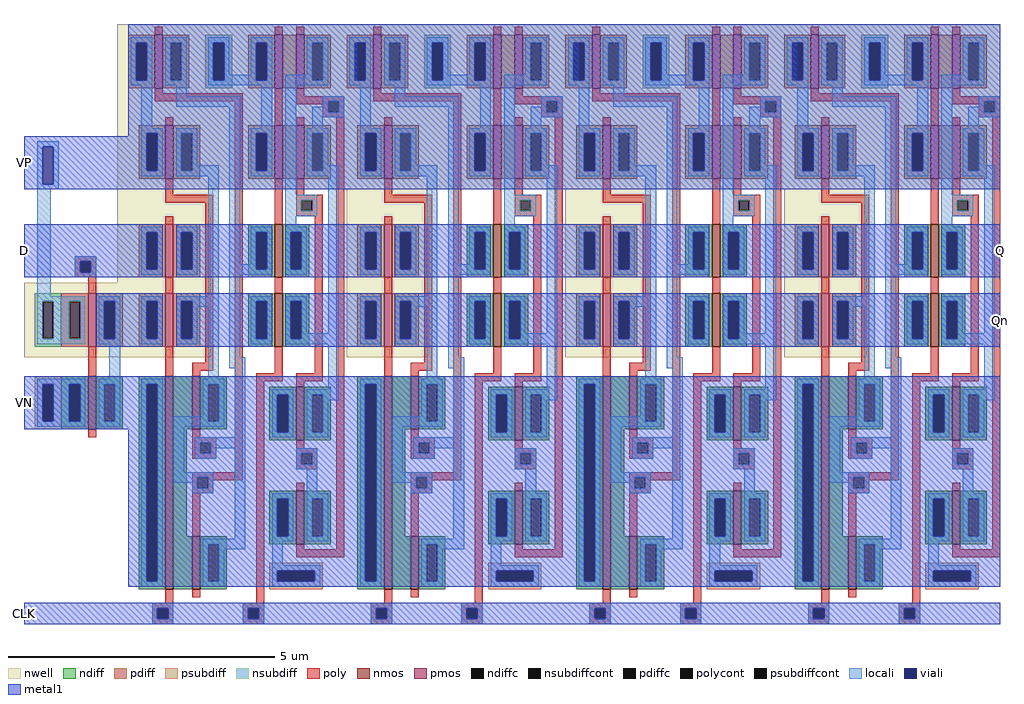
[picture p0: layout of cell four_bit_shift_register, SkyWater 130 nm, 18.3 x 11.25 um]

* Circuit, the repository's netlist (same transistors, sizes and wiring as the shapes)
* NGSPICE file created from four_bit_shift_register.ext - technology: sky130A

.subckt inverter VN VP A Y
X0 Y A VP VP sky130_fd_pr__pfet_01v8 ad=0.5 pd=3 as=0.5 ps=3 w=1 l=0.15
X1 Y A VN VN sky130_fd_pr__nfet_01v8 ad=0.5 pd=3 as=0.5 ps=3 w=1 l=0.15
.ends

.subckt csrl_flipflop CLK VN Dn D VP Q Qn
X0 Qn CLK a_n150_1500# VN sky130_fd_pr__nfet_01v8 ad=0.5 pd=3 as=0.5 ps=3 w=1 l=0.15
X1 a_n150_1500# CLK Dn VP sky130_fd_pr__pfet_01v8 ad=0.5 pd=3 as=0.5 ps=3 w=1 l=0.15
X2 Q Qn a_330_1550# VP sky130_fd_pr__pfet_01v8 ad=0.5 pd=3 as=0.125 ps=1.25 w=1 l=0.15
X3 Q CLK a_n120_1550# VN sky130_fd_pr__nfet_01v8 ad=0.5 pd=3 as=0.5 ps=3 w=1 l=0.15
X4 Qn Q a_330_1210# VP sky130_fd_pr__pfet_01v8 ad=0.5 pd=3 as=0.125 ps=1.25 w=1 l=0.15
X5 a_n120_1550# CLK D VP sky130_fd_pr__pfet_01v8 ad=0.5 pd=3 as=0.5 ps=3 w=1 l=0.15
X6 Qn Q VN VN sky130_fd_pr__nfet_01v8 ad=0.5 pd=3 as=0.5 ps=3 w=1 l=0.15
X7 a_n120_1550# a_n150_1500# VP VP sky130_fd_pr__pfet_01v8 ad=0.5 pd=3 as=0.5 ps=3 w=1 l=0.15
X8 a_n120_1550# a_n150_1500# a_n80_n330# VN sky130_fd_pr__nfet_01v8 ad=0.5 pd=3 as=0.4 ps=2.96 w=1 l=0.15
X9 a_330_1550# CLK VP VP sky130_fd_pr__pfet_01v8 ad=0.125 pd=1.25 as=0.5 ps=3 w=1 l=0.15
X10 a_n80_n330# CLK VN VN sky130_fd_pr__nfet_01v8 ad=0.4 pd=2.96 as=2 ps=9 w=4 l=0.15
X11 a_330_1210# CLK VP VP sky130_fd_pr__pfet_01v8 ad=0.125 pd=1.25 as=0.5 ps=3 w=1 l=0.15
X12 a_n150_1500# a_n120_1550# VP VP sky130_fd_pr__pfet_01v8 ad=0.5 pd=3 as=0.5 ps=3 w=1 l=0.15
X13 Q Qn VN VN sky130_fd_pr__nfet_01v8 ad=0.5 pd=3 as=0.5 ps=3 w=1 l=0.15
X14 a_n150_1500# a_n120_1550# a_n80_n330# VN sky130_fd_pr__nfet_01v8 ad=0.5 pd=3 as=0.4 ps=2.96 w=1 l=0.15
.ends


* Top level circuit four_bit_shift_register

Xinverter_0 VN inverter_0/VP inverter_0/A inverter_0/Y inverter
Xcsrl_flipflop_0 CLK VN inverter_0/Y inverter_0/A inverter_0/VP csrl_flipflop_1/D
+ csrl_flipflop_1/Dn csrl_flipflop
Xcsrl_flipflop_1 CLK VN csrl_flipflop_1/Dn csrl_flipflop_1/D inverter_0/VP csrl_flipflop_2/D
+ csrl_flipflop_2/Dn csrl_flipflop
Xcsrl_flipflop_2 CLK VN csrl_flipflop_2/Dn csrl_flipflop_2/D inverter_0/VP csrl_flipflop_3/D
+ csrl_flipflop_3/Dn csrl_flipflop
Xcsrl_flipflop_3 CLK VN csrl_flipflop_3/Dn csrl_flipflop_3/D inverter_0/VP csrl_flipflop_3/Q
+ csrl_flipflop_3/Qn csrl_flipflop
.end

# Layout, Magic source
magic
tech sky130A
<< nwell >>
rect 580 465 625 775
rect 990 465 1040 775
rect 1395 465 1450 775
rect 175 290 195 465
<< metal1 >>
rect 580 465 625 775
rect 990 465 1040 775
rect 1395 465 1450 775
rect 590 300 625 400
rect 1000 300 1025 400
rect 1385 300 1450 400
rect 585 170 620 270
rect 1000 170 1025 270
rect 1385 170 1450 270
rect 0 15 25 115
rect 575 -280 630 115
rect 990 -280 1030 115
rect 1400 -280 1440 115
rect 0 -350 195 -310
rect 580 -350 615 -310
rect 995 -350 1030 -310
rect 1405 -350 1445 -310
use csrl_flipflop  csrl_flipflop_0
transform 1 0 320 0 1 -120
box -145 -230 280 895
use csrl_flipflop  csrl_flipflop_1
transform 1 0 730 0 1 -120
box -145 -230 280 895
use csrl_flipflop  csrl_flipflop_2
transform 1 0 1140 0 1 -120
box -145 -230 280 895
use csrl_flipflop  csrl_flipflop_3
transform 1 0 1550 0 1 -120
box -145 -230 280 895
use inverter  inverter_0
transform 1 0 120 0 1 15
box -120 -15 85 550
<< labels >>
rlabel metal1 0 -330 0 -330 7 CLK
rlabel metal1 0 65 0 65 7 VN
rlabel space 0 350 0 350 7 D
rlabel space 0 515 0 515 7 VP
rlabel space 1830 350 1830 350 3 Q
rlabel space 1830 220 1830 220 3 Qn
<< end >>

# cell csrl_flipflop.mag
magic
tech sky130A
<< nwell >>
rect -145 585 280 895
rect -125 535 35 585
rect -125 270 30 535
<< nmos >>
rect -55 -165 -40 235
rect -5 135 10 235
rect 150 420 165 520
rect 150 290 165 390
rect -5 -165 10 -65
rect 190 115 205 215
rect 190 -80 205 20
<< pmos >>
rect -75 775 -60 875
rect 150 775 165 875
rect 190 775 205 875
rect -55 605 -40 705
rect -55 420 -40 520
rect -55 290 -40 390
rect 150 605 165 705
rect 190 605 205 705
<< ndiff >>
rect -105 220 -55 235
rect -105 -150 -90 220
rect -70 -150 -55 220
rect -105 -165 -55 -150
rect -40 135 -5 235
rect 10 220 60 235
rect 10 150 25 220
rect 45 150 60 220
rect 10 135 60 150
rect -40 -65 -15 135
rect 100 505 150 520
rect 100 435 115 505
rect 135 435 150 505
rect 100 420 150 435
rect 165 505 215 520
rect 165 435 180 505
rect 200 435 215 505
rect 165 420 215 435
rect 100 375 150 390
rect 100 305 115 375
rect 135 305 150 375
rect 100 290 150 305
rect 165 375 215 390
rect 165 305 180 375
rect 200 305 215 375
rect 165 290 215 305
rect -40 -165 -5 -65
rect 10 -80 60 -65
rect 10 -150 25 -80
rect 45 -150 60 -80
rect 10 -165 60 -150
rect 140 200 190 215
rect 140 130 155 200
rect 175 130 190 200
rect 140 115 190 130
rect 205 200 255 215
rect 205 130 220 200
rect 240 130 255 200
rect 205 115 255 130
rect 140 5 190 20
rect 140 -65 155 5
rect 175 -65 190 5
rect 140 -80 190 -65
rect 205 5 255 20
rect 205 -65 220 5
rect 240 -65 255 5
rect 205 -80 255 -65
<< pdiff >>
rect -125 860 -75 875
rect -125 790 -110 860
rect -90 790 -75 860
rect -125 775 -75 790
rect -60 860 -10 875
rect -60 790 -45 860
rect -25 790 -10 860
rect -60 775 -10 790
rect 100 860 150 875
rect 100 790 115 860
rect 135 790 150 860
rect 100 775 150 790
rect 165 775 190 875
rect 205 860 255 875
rect 205 790 220 860
rect 240 790 255 860
rect 205 775 255 790
rect -105 690 -55 705
rect -105 620 -90 690
rect -70 620 -55 690
rect -105 605 -55 620
rect -40 690 10 705
rect -40 620 -25 690
rect -5 620 10 690
rect -40 605 10 620
rect -105 505 -55 520
rect -105 435 -90 505
rect -70 435 -55 505
rect -105 420 -55 435
rect -40 505 10 520
rect -40 435 -25 505
rect -5 435 10 505
rect -40 420 10 435
rect -105 375 -55 390
rect -105 305 -90 375
rect -70 305 -55 375
rect -105 290 -55 305
rect -40 375 10 390
rect -40 305 -25 375
rect -5 305 10 375
rect -40 290 10 305
rect 100 690 150 705
rect 100 620 115 690
rect 135 620 150 690
rect 100 605 150 620
rect 165 605 190 705
rect 205 690 255 705
rect 205 620 220 690
rect 240 620 255 690
rect 205 605 255 620
<< ndiffc >>
rect -90 -150 -70 220
rect 25 150 45 220
rect 115 435 135 505
rect 180 435 200 505
rect 115 305 135 375
rect 180 305 200 375
rect 25 -150 45 -80
rect 155 130 175 200
rect 220 130 240 200
rect 155 -65 175 5
rect 220 -65 240 5
<< pdiffc >>
rect -110 790 -90 860
rect -45 790 -25 860
rect 115 790 135 860
rect 220 790 240 860
rect -90 620 -70 690
rect -25 620 -5 690
rect -90 435 -70 505
rect -25 435 -5 505
rect -90 305 -70 375
rect -25 305 -5 375
rect 115 620 135 690
rect 220 620 240 690
<< psubdiff >>
rect 140 -130 240 -115
rect 140 -150 155 -130
rect 225 -150 240 -130
rect 140 -165 240 -150
<< nsubdiff >>
rect 20 860 70 875
rect 20 790 35 860
rect 55 790 70 860
rect 20 775 70 790
<< psubdiffcont >>
rect 155 -150 225 -130
<< nsubdiffcont >>
rect 35 790 55 860
<< poly >>
rect -75 875 -60 890
rect 150 875 165 890
rect 190 875 205 890
rect -75 765 -60 775
rect -75 750 90 765
rect -55 705 -40 720
rect -55 575 -40 605
rect -55 560 35 575
rect -55 520 -40 535
rect -55 390 -40 420
rect -55 235 -40 290
rect 20 260 35 560
rect -5 245 35 260
rect -5 235 10 245
rect -5 120 10 135
rect -5 110 40 120
rect -5 90 10 110
rect 30 90 40 110
rect -5 80 40 90
rect 75 55 90 750
rect 150 705 165 775
rect 190 760 205 775
rect 190 750 280 760
rect 190 745 250 750
rect 240 730 250 745
rect 270 730 280 750
rect 240 720 280 730
rect 190 705 205 720
rect 150 520 165 605
rect 190 575 205 605
rect 190 565 240 575
rect 190 545 200 565
rect 220 545 240 565
rect 190 535 240 545
rect 150 390 165 420
rect 150 240 165 290
rect 225 240 240 535
rect -5 45 90 55
rect -5 25 5 45
rect 25 40 90 45
rect 115 225 165 240
rect 190 225 240 240
rect 25 25 35 40
rect -5 15 35 25
rect -5 -65 10 15
rect -55 -190 -40 -165
rect -5 -180 10 -165
rect 115 -190 130 225
rect 190 215 205 225
rect 190 100 205 115
rect 190 90 230 100
rect 190 70 200 90
rect 220 70 230 90
rect 190 60 230 70
rect 190 20 205 35
rect 190 -90 205 -80
rect 265 -90 280 720
rect 190 -105 280 -90
rect -80 -200 -40 -190
rect -80 -220 -70 -200
rect -50 -220 -40 -200
rect -80 -230 -40 -220
rect 90 -200 130 -190
rect 90 -220 100 -200
rect 120 -220 130 -200
rect 90 -230 130 -220
<< polycont >>
rect 10 90 30 110
rect 250 730 270 750
rect 200 545 220 565
rect 5 25 25 45
rect 200 70 220 90
rect -70 -220 -50 -200
rect 100 -220 120 -200
<< locali >>
rect -120 860 -80 870
rect -120 790 -110 860
rect -90 790 -80 860
rect -120 780 -80 790
rect -55 860 -15 870
rect -55 790 -45 860
rect -25 790 -15 860
rect -55 780 -15 790
rect 25 860 65 870
rect 25 790 35 860
rect 55 800 65 860
rect 105 860 145 870
rect 105 800 115 860
rect 55 790 115 800
rect 135 790 145 860
rect 210 860 250 870
rect 210 800 220 860
rect 25 780 145 790
rect -100 700 -80 780
rect -35 760 -15 780
rect -35 740 85 760
rect -100 690 -60 700
rect -100 620 -90 690
rect -70 620 -60 690
rect -100 610 -60 620
rect -35 690 5 700
rect -35 620 -25 690
rect -5 630 5 690
rect -5 620 45 630
rect -35 610 45 620
rect -100 505 -60 515
rect -100 435 -90 505
rect -70 435 -60 505
rect -100 425 -60 435
rect -35 505 5 515
rect -35 435 -25 505
rect -5 435 5 505
rect -35 425 5 435
rect 25 385 45 610
rect -100 375 -60 385
rect -100 305 -90 375
rect -70 305 -60 375
rect -100 295 -60 305
rect -35 375 45 385
rect -35 305 -25 375
rect -5 365 45 375
rect -5 305 5 365
rect -35 295 5 305
rect 25 230 45 365
rect 65 445 85 740
rect 125 700 145 780
rect 105 690 145 700
rect 105 620 115 690
rect 135 620 145 690
rect 105 610 145 620
rect 170 790 220 800
rect 240 790 250 860
rect 170 780 250 790
rect 170 575 190 780
rect 240 750 280 760
rect 240 740 250 750
rect 220 730 250 740
rect 270 730 280 750
rect 220 720 280 730
rect 220 700 240 720
rect 210 690 250 700
rect 210 620 220 690
rect 240 630 250 690
rect 240 620 270 630
rect 210 610 270 620
rect 170 565 230 575
rect 170 545 200 565
rect 220 545 230 565
rect 170 535 230 545
rect 170 515 190 535
rect 105 505 145 515
rect 105 445 115 505
rect 65 435 115 445
rect 135 435 145 505
rect 65 425 145 435
rect 170 505 210 515
rect 170 435 180 505
rect 200 435 210 505
rect 170 425 210 435
rect 65 270 85 425
rect 105 375 145 385
rect 105 305 115 375
rect 135 305 145 375
rect 105 295 145 305
rect 170 375 210 385
rect 170 305 180 375
rect 200 315 210 375
rect 250 315 270 610
rect 200 305 270 315
rect 170 295 270 305
rect 65 250 95 270
rect -100 220 -60 230
rect -100 -150 -90 220
rect -70 -150 -60 220
rect 15 220 55 230
rect 15 160 25 220
rect -40 150 25 160
rect 45 150 55 220
rect -40 140 55 150
rect -40 55 -20 140
rect 75 120 95 250
rect 250 210 270 295
rect 145 200 185 210
rect 145 130 155 200
rect 175 130 185 200
rect 145 120 185 130
rect 210 200 270 210
rect 210 130 220 200
rect 240 190 270 200
rect 240 130 250 190
rect 210 120 250 130
rect 0 110 95 120
rect 0 90 10 110
rect 30 100 95 110
rect 30 90 40 100
rect 0 80 40 90
rect -40 45 35 55
rect -40 35 5 45
rect -5 25 5 35
rect 25 25 35 45
rect -5 15 35 25
rect 75 -70 95 100
rect 190 90 230 100
rect 190 70 200 90
rect 220 70 230 90
rect 190 60 230 70
rect 210 15 230 60
rect -100 -160 -60 -150
rect 15 -80 95 -70
rect 15 -150 25 -80
rect 45 -90 95 -80
rect 145 5 185 15
rect 145 -65 155 5
rect 175 -65 185 5
rect 145 -75 185 -65
rect 210 5 250 15
rect 210 -65 220 5
rect 240 -65 250 5
rect 210 -75 250 -65
rect 45 -150 55 -90
rect 15 -160 55 -150
rect 145 -120 165 -75
rect 145 -130 235 -120
rect 145 -150 155 -130
rect 225 -150 235 -130
rect 145 -160 235 -150
rect -80 -200 -40 -190
rect -80 -220 -70 -200
rect -50 -220 -40 -200
rect -80 -230 -40 -220
rect 90 -200 130 -190
rect 90 -220 100 -200
rect 120 -220 130 -200
rect 90 -230 130 -220
<< viali >>
rect -110 790 -90 860
rect 35 790 55 860
rect 115 790 135 860
rect -90 620 -70 690
rect -90 435 -70 505
rect -25 435 -5 505
rect -90 305 -70 375
rect -25 305 -5 375
rect 115 620 135 690
rect 115 435 135 505
rect 180 435 200 505
rect 115 305 135 375
rect 180 305 200 375
rect -90 -150 -70 220
rect 155 130 175 200
rect 155 -65 175 5
rect 155 -150 225 -130
rect -70 -220 -50 -200
rect 100 -220 120 -200
<< metal1 >>
rect -125 860 280 895
rect -125 790 -110 860
rect -90 790 35 860
rect 55 790 115 860
rect 135 790 280 860
rect -125 690 280 790
rect -125 620 -90 690
rect -70 620 115 690
rect 135 620 280 690
rect -125 585 280 620
rect -125 505 -60 520
rect -125 435 -90 505
rect -70 435 -60 505
rect -125 420 -60 435
rect -35 505 145 520
rect -35 435 -25 505
rect -5 435 115 505
rect 135 435 145 505
rect -35 420 145 435
rect 170 505 280 520
rect 170 435 180 505
rect 200 435 280 505
rect 170 420 280 435
rect -125 375 -60 390
rect -125 305 -90 375
rect -70 305 -60 375
rect -125 290 -60 305
rect -35 375 145 390
rect -35 305 -25 375
rect -5 305 115 375
rect 135 305 145 375
rect -35 290 145 305
rect 170 375 280 390
rect 170 305 180 375
rect 200 305 280 375
rect 170 290 280 305
rect -125 220 280 235
rect -125 -150 -90 220
rect -70 200 280 220
rect -70 130 155 200
rect 175 130 280 200
rect -70 5 280 130
rect -70 -65 155 5
rect 175 -65 280 5
rect -70 -130 280 -65
rect -70 -150 155 -130
rect 225 -150 280 -130
rect -125 -160 280 -150
rect -125 -200 280 -190
rect -125 -220 -70 -200
rect -50 -220 100 -200
rect 120 -220 280 -200
rect -125 -230 280 -220
<< labels >>
rlabel metal1 -125 -210 -125 -210 7 CLK
port 1 w
rlabel metal1 -125 35 -125 35 7 VN
port 2 w
rlabel metal1 -125 340 -125 340 7 Dn
port 3 w
rlabel metal1 -125 470 -125 470 7 D
port 4 w
rlabel metal1 -125 735 -125 735 7 VP
port 5 w
rlabel metal1 280 470 280 470 3 Q
port 6 e
rlabel metal1 280 340 280 340 3 Qn
port 7 e
<< end >>

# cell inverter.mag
magic
tech sky130A
<< nwell >>
rect -120 135 85 275
<< nmos >>
rect 0 0 15 100
<< pmos >>
rect 0 155 15 255
<< ndiff >>
rect -50 85 0 100
rect -50 15 -35 85
rect -15 15 0 85
rect -50 0 0 15
rect 15 85 65 100
rect 15 15 30 85
rect 50 15 65 85
rect 15 0 65 15
<< pdiff >>
rect -50 240 0 255
rect -50 170 -35 240
rect -15 170 0 240
rect -50 155 0 170
rect 15 240 65 255
rect 15 170 30 240
rect 50 170 65 240
rect 15 155 65 170
<< ndiffc >>
rect -35 15 -15 85
rect 30 15 50 85
<< pdiffc >>
rect -35 170 -15 240
rect 30 170 50 240
<< psubdiff >>
rect -100 85 -50 100
rect -100 15 -85 85
rect -65 15 -50 85
rect -100 0 -50 15
<< nsubdiff >>
rect -100 240 -50 255
rect -100 170 -85 240
rect -65 170 -50 240
rect -100 155 -50 170
<< psubdiffcont >>
rect -85 15 -65 85
<< nsubdiffcont >>
rect -85 170 -65 240
<< poly >>
rect -25 315 15 325
rect -25 295 -15 315
rect 5 295 15 315
rect -25 285 15 295
rect 0 255 15 285
rect 0 100 15 155
rect 0 -15 15 0
<< polycont >>
rect -15 295 5 315
<< locali >>
rect -95 530 -55 540
rect -95 460 -85 530
rect -65 460 -55 530
rect -95 450 -55 460
rect -95 250 -70 450
rect -25 315 15 325
rect -25 295 -15 315
rect 5 295 15 315
rect -25 285 15 295
rect -95 240 -5 250
rect -95 170 -85 240
rect -65 170 -35 240
rect -15 170 -5 240
rect -95 160 -5 170
rect 20 240 60 250
rect 20 170 30 240
rect 50 170 60 240
rect 20 160 60 170
rect 40 95 60 160
rect -95 85 -5 95
rect -95 15 -85 85
rect -65 15 -35 85
rect -15 15 -5 85
rect -95 5 -5 15
rect 20 85 60 95
rect 20 15 30 85
rect 50 15 60 85
rect 20 5 60 15
<< viali >>
rect -85 460 -65 530
rect -15 295 5 315
rect 30 170 50 240
rect -85 15 -65 85
rect -35 15 -15 85
<< metal1 >>
rect -120 530 85 550
rect -120 460 -85 530
rect -65 460 85 530
rect -120 450 85 460
rect -120 315 85 385
rect -120 295 -15 315
rect 5 295 85 315
rect -120 285 85 295
rect 15 240 85 255
rect 15 170 30 240
rect 50 170 85 240
rect 15 155 85 170
rect -100 85 85 100
rect -100 15 -85 85
rect -65 15 -35 85
rect -15 15 85 85
rect -100 0 85 15
<< labels >>
rlabel metal1 -120 335 -120 335 7 A
port 3 w
rlabel metal1 85 205 85 205 3 Y
port 4 e
rlabel metal1 -120 500 -120 500 7 VP
port 2 w
rlabel metal1 -100 50 -100 50 7 VN
port 1 w
<< end >>
